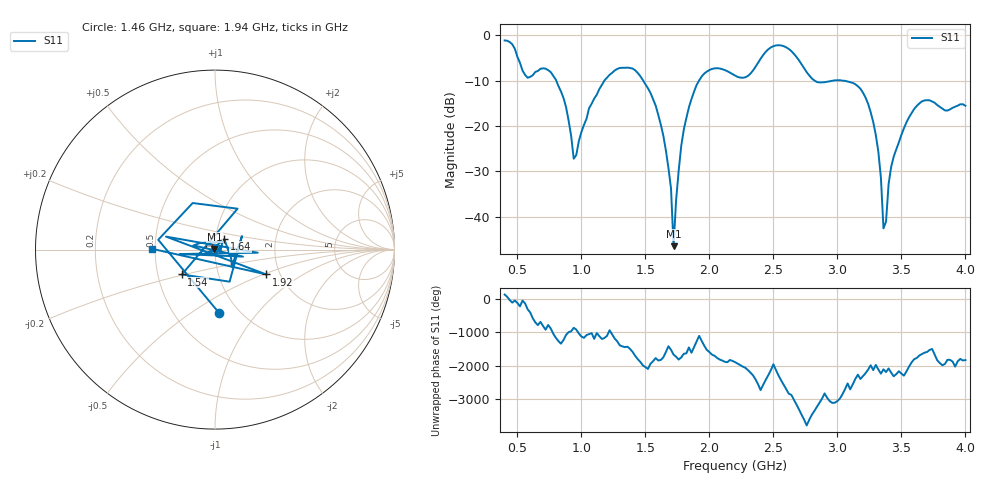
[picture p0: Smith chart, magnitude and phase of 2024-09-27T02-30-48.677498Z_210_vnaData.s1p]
!Created with skrf (http://scikit-rf.org).
# Hz S RI R 50.0
!freq ReS11 ImS11
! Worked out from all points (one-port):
!   181 points, 400 MHz to 4 GHz, reference 50 ohm
!   lowest |S11| = -46.5 dB at 1.72 GHz (marker M1), VSWR 1.01, Z = 49.7 + j0.351 ohm
!   |S11| at or under -10 dB: 803.1 MHz to 1.179 GHz (376.3 MHz wide, 38 % of centre); 1.483 GHz to 1.919 GHz (436.6 MHz wide, 25.7 % of centre); 3.037 GHz to end of sweep (the widest 3 of 4)
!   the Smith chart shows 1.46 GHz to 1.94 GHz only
!   S11 on the Smith chart (normalised r, x): 1.46 GHz: 0.81, -0.65; 1.54 GHz: 0.67, -0.19; 1.64 GHz: 1.10, +0.13; 1.92 GHz: 1.70, -0.52; 1.94 GHz: 0.48, +0.00
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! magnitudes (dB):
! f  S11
! 400 MHz  -1.2
! 580 MHz  -9.4
! 720 MHz  -7.4
! 860 MHz  -13.8
! 940 MHz  -27.2
! 1.06 GHz  -16.1
! 1.3 GHz  -7.2
! 1.46 GHz  -9.0
! 1.54 GHz  -12.7
! 1.64 GHz  -22.1
! 1.7 GHz  -33.7
! 1.72 GHz  -46.5
! 1.76 GHz  -29.8
! 1.82 GHz  -18.2
! 1.92 GHz  -10.0
! 1.94 GHz  -9.1
! 2.2 GHz  -8.9
! 2.5 GHz  -2.4
! 2.66 GHz  -4.1
! 2.84 GHz  -10.3
! 3.1 GHz  -10.3
! 3.28 GHz  -19.1
! 3.34 GHz  -31.4
! 3.36 GHz  -42.5
! 3.42 GHz  -29.0
! 3.56 GHz  -18.1
! 3.68 GHz  -14.4
! 4 GHz  -15.5
